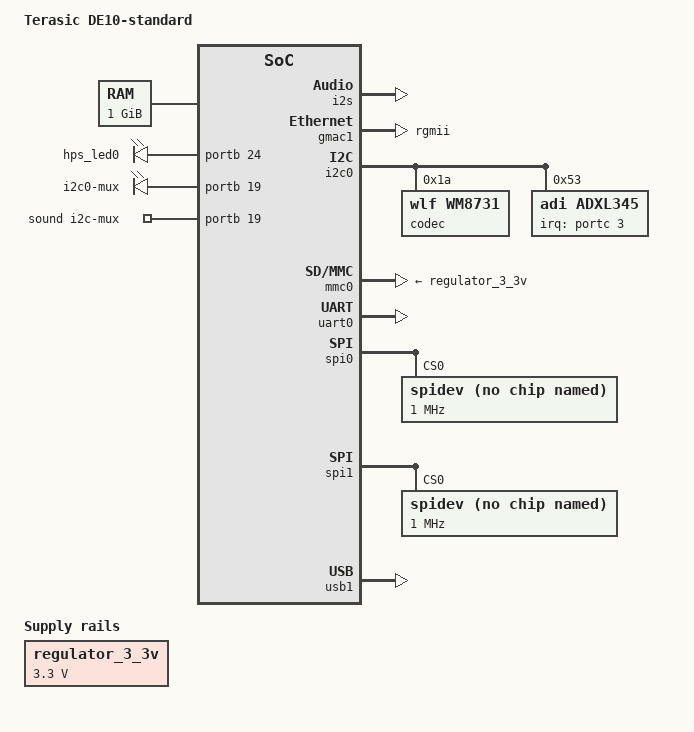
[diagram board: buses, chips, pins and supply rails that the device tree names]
/*
 * Copyright Altera Corporation (C) 2015. All rights reserved.
 *
 * This program is free software; you can redistribute it and/or modify
 * it under the terms and conditions of the GNU General Public License,
 * version 2, as published by the Free Software Foundation.
 *
 * This program is distributed in the hope it will be useful, but WITHOUT
 * ANY WARRANTY; without even the implied warranty of MERCHANTABILITY or
 * FITNESS FOR A PARTICULAR PURPOSE.  See the GNU General Public License for
 * more details.
 *
 * You should have received a copy of the GNU General Public License along with
 * this program.  If not, see <http://www.gnu.org/licenses/>.
 */

#include "socfpga_cyclone5.dtsi"

/ {
	model = "Terasic DE10-standard";
	compatible = "altr,socfpga-cyclone5", "altr,socfpga";

	chosen {
		bootargs = "earlyprintk";
		stdout-path = "serial0:115200n8";
	};

	memory {
		name = "memory";
		device_type = "memory";
		reg = <0x0 0x40000000>; /* 1GB */
	};

	aliases {
		ethernet0 = &gmac1;
	};

	regulator_3_3v: 3-3-v-regulator {
		compatible = "regulator-fixed";
		regulator-name = "3.3V";
		regulator-min-microvolt = <3300000>;
		regulator-max-microvolt = <3300000>;
	};

	leds {
		compatible = "gpio-leds";
		hps0 {
			label = "hps_led0";
			gpios = <&portb 24 0>;
			linux,default-trigger = "heartbeat";
		};
		i2c0mux {
			label="i2c0-mux";
			gpios = <&portb 19 0>;
			linux,default-trigger = "default-on";
		};
	};
	sound {
	        compatible = "opencores,de1soc-wm8731-audio";
		i2s-controller = <&i2s>;
		audio-codec = <&codec>;
		i2c-mux-gpio = <&portb 19 0>;
        };
	clk48: clk48 {
		compatible = "fixed-clock";
		#clock-cells = <0>;
		clock-frequency  = <24576000>;
		clock-output-names = "clk48";
	};

	clk44: clk44 {
		compatible = "fixed-clock";
		#clock-cells = <0>;
		clock-frequency  = <33868800>;
		clock-output-names = "clk44";
	};
	i2s: i2s@0 {
		#sound-dai-cells = <1>;
		compatible = "opencores,i2s";
		reg = <0xff206000 0x20>, <0xff207000 0x20>;
		clocks = <&clk44>, <&clk48>;
		clock-names = "clk44", "clk48";
		dmas = <&pdma 0>, <&pdma 1>;
		dma-names = "tx", "rx";
	};
	alt_vip_vfr_1: vip@0 {
		compatible = "ALTR,vip-frame-reader-13.0", "ALTR,vip-frame-reader-9.1";
		reg = < 0xff231000 0x00000080 >;
		max-width = < 1024 >;	 
		max-height = < 768 >;	 
		mem-word-width = < 128 >;
		bits-per-color = < 8 >;

	}; //end vip@0x40100 (alt_vip_vfr_0)
};

&gmac1 {
	status = "okay";
	phy-mode = "rgmii";

	txd0-skew-ps = <0>; /* -420ps */
	txd1-skew-ps = <0>; /* -420ps */
	txd2-skew-ps = <0>; /* -420ps */
	txd3-skew-ps = <0>; /* -420ps */
	rxd0-skew-ps = <420>; /* 0ps */
	rxd1-skew-ps = <420>; /* 0ps */
	rxd2-skew-ps = <420>; /* 0ps */
	rxd3-skew-ps = <420>; /* 0ps */
	txen-skew-ps = <0>; /* -420ps */
	txc-skew-ps = <1860>; /* 960ps */
	rxdv-skew-ps = <420>; /* 0ps */
	rxc-skew-ps = <1680>; /* 780ps */

	max-frame-size = <3800>;
};

&gpio0 {
	status = "okay";
};

&gpio1 {
	status = "okay";
};

&gpio2 {
	status = "okay";
};

&i2c0 {
	status = "okay";
	speed-mode = <0>;
	codec: wm8731@34 {
		#sound-dai-cells = <0>;
		compatible = "wlf,wm8731";
		reg = <0x1a>;
	};
	adxl345: adxl345@0 {
		compatible = "adi,adxl345";
		reg = <0x53>;

		interrupt-parent = <&portc>;
		interrupts = <3 2>;
	};
};

&mmc0 {
	vmmc-supply = <&regulator_3_3v>;
	vqmmc-supply = <&regulator_3_3v>;
	status = "okay";
};

&uart0 {
	status = "okay";
};

&spi0 {
	status = "okay";

	spidev@0 {
		/* spidev causes a WARN_ON() so spoof with DAC compat */
		compatible = "rohm,dh2228fv";
		reg = <0>;	/* chip select */
		spi-max-frequency = <1000000>;
		enable-dma = <1>;
	};
};

&spi1 {
	status = "okay";

	spidev@0 {
		/* spidev causes a WARN_ON() so spoof with DAC compat */
		compatible = "rohm,dh2228fv";
		reg = <0>;	/* chip select */
		spi-max-frequency = <1000000>;
		enable-dma = <1>;
	};
};


&usb1 {
	status = "okay";
};
